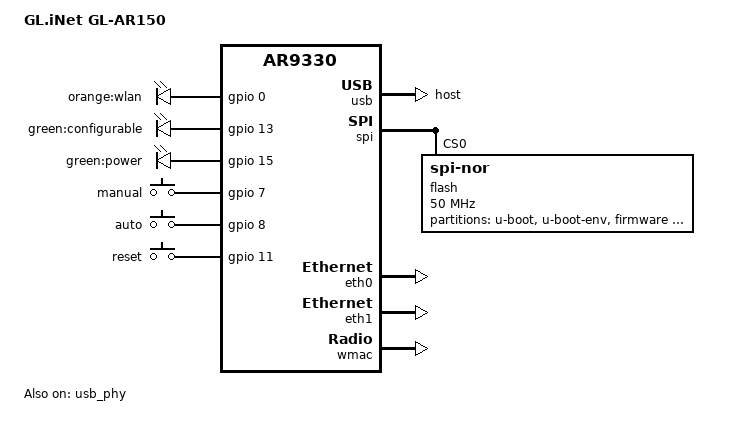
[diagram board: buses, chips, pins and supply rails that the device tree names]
// SPDX-License-Identifier: GPL-2.0-or-later OR MIT

#include "ar9330.dtsi"

#include <dt-bindings/gpio/gpio.h>
#include <dt-bindings/input/input.h>

/ {
	model = "GL.iNet GL-AR150";
	compatible = "glinet,gl-ar150", "qca,ar9330";

	aliases {
		led-boot = &led_power;
		led-failsafe = &led_power;
		led-running = &led_power;
		led-upgrade = &led_power;
		label-mac-device = &eth0;
	};

	leds {
		compatible = "gpio-leds";

		wlan {
			label = "orange:wlan";
			gpios = <&gpio 0 GPIO_ACTIVE_HIGH>;
			linux,default-trigger = "phy0tpt";
		};

		configurable {
			label = "green:configurable";
			gpios = <&gpio 13 GPIO_ACTIVE_HIGH>;
		};

		led_power: power {
			label = "green:power";
			gpios = <&gpio 15 GPIO_ACTIVE_HIGH>;
			default-state = "on";
		};
	};

	keys {
		compatible = "gpio-keys";

		manual {
			label = "manual";
			linux,code = <BTN_7>;
			gpios = <&gpio 7 GPIO_ACTIVE_HIGH>;
		};

		auto {
			label = "auto";
			linux,code = <BTN_8>;
			gpios = <&gpio 8 GPIO_ACTIVE_HIGH>;
		};

		reset {
			label = "reset";
			linux,code = <KEY_RESTART>;
			gpios = <&gpio 11 GPIO_ACTIVE_HIGH>;
		};
	};
};

&usb {
	dr_mode = "host";
	status = "okay";
};

&usb_phy {
	status = "okay";
	gpios = <&gpio 6 GPIO_ACTIVE_HIGH>;
};

&spi {
	status = "okay";

	flash@0 {
		compatible = "jedec,spi-nor";
		spi-max-frequency = <50000000>;
		reg = <0>;

		partitions {
			compatible = "fixed-partitions";
			#address-cells = <1>;
			#size-cells = <1>;

			partition@0 {
				label = "u-boot";
				reg = <0x000000 0x040000>;
				read-only;
			};

			partition@1 {
				label = "u-boot-env";
				reg = <0x040000 0x010000>;
			};

			partition@2 {
				compatible = "denx,uimage";
				label = "firmware";
				reg = <0x050000 0xfa0000>;
			};

			art: partition@3 {
				label = "art";
				reg = <0xff0000 0x010000>;
				read-only;
			};
		};
	};
};

&eth0 {
	status = "okay";

	mtd-mac-address = <&art 0x0>;
};

&eth1 {
	status = "okay";

	mtd-mac-address = <&art 0x0>;

	gmac-config {
		device = <&gmac>;

		switch-phy-addr-swap = <0>;
		switch-phy-swap = <0>;
	};
};

&wmac {
	status = "okay";

	mtd-cal-data = <&art 0x1000>;
	mtd-mac-address = <&art 0x0>;
};
